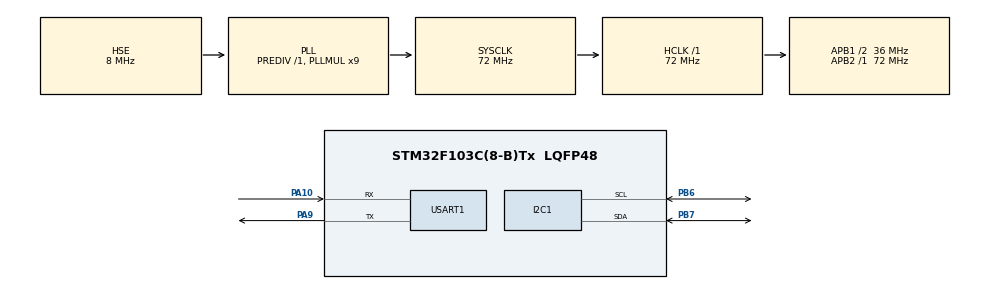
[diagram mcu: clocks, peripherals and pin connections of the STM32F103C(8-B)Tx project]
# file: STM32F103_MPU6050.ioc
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Dma.I2C1_RX.0.Direction=DMA_PERIPH_TO_MEMORY
Dma.I2C1_RX.0.Instance=DMA1_Channel7
Dma.I2C1_RX.0.MemDataAlignment=DMA_MDATAALIGN_BYTE
Dma.I2C1_RX.0.MemInc=DMA_MINC_ENABLE
Dma.I2C1_RX.0.Mode=DMA_NORMAL
Dma.I2C1_RX.0.PeriphDataAlignment=DMA_PDATAALIGN_BYTE
Dma.I2C1_RX.0.PeriphInc=DMA_PINC_DISABLE
Dma.I2C1_RX.0.Priority=DMA_PRIORITY_LOW
Dma.Request0=I2C1_RX
I2C1.I2C_Mode=I2C_Fast
Mcu.Family=STM32F1
Mcu.Name=STM32F103C(8-B)Tx
Mcu.Package=LQFP48
NVIC.DMA1_Channel7_IRQn=true\:0\:0\:false\:false\:true\:false\:true\:true
NVIC.I2C1_ER_IRQn=true\:0\:0\:false\:false\:true\:true\:true\:true
NVIC.I2C1_EV_IRQn=true\:0\:0\:false\:false\:true\:true\:true\:true
NVIC.PriorityGroup=NVIC_PRIORITYGROUP_4
PA10.Mode=Asynchronous
PA10.Signal=USART1_RX
PA13.Mode=Serial_Wire
PA13.Signal=SYS_JTMS-SWDIO
PA14.Mode=Serial_Wire
PA14.Signal=SYS_JTCK-SWCLK
PA9.Mode=Asynchronous
PA9.Signal=USART1_TX
PB6.Mode=I2C
PB6.Signal=I2C1_SCL
PB7.Mode=I2C
PB7.Signal=I2C1_SDA
PD0-OSC_IN.Mode=HSE-External-Oscillator
PD0-OSC_IN.Signal=RCC_OSC_IN
PD1-OSC_OUT.Mode=HSE-External-Oscillator
PD1-OSC_OUT.Signal=RCC_OSC_OUT
ProjectManager.HeapSize=0x200
ProjectManager.StackSize=0x400
ProjectManager.TargetToolchain=STM32CubeIDE
RCC.AHBFreq_Value=72000000
RCC.APB1CLKDivider=RCC_HCLK_DIV2
RCC.APB1Freq_Value=36000000
RCC.APB1TimFreq_Value=72000000
RCC.APB2Freq_Value=72000000
RCC.APB2TimFreq_Value=72000000
RCC.HCLKFreq_Value=72000000
RCC.PLLMUL=RCC_PLL_MUL9
RCC.PLLSourceVirtual=RCC_PLLSOURCE_HSE
RCC.SYSCLKFreq_VALUE=72000000
RCC.SYSCLKSource=RCC_SYSCLKSOURCE_PLLCLK
RCC.USBFreq_Value=72000000
TIM2.Prescaler=71
USART1.VirtualMode=VM_ASYNC
VP_TIM2_VS_ClockSourceINT.Mode=Internal
board=custom

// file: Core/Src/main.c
/* USER CODE BEGIN Header */
/**
  ******************************************************************************
  * @file           : main.c
  * @brief          : Main program body
  ******************************************************************************
  * @attention
  *
  * Copyright (c) 2026 STMicroelectronics.
  * All rights reserved.
  *
  * This software is licensed under terms that can be found in the LICENSE file
  * in the root directory of this software component.
  * If no LICENSE file comes with this software, it is provided AS-IS.
  *
  ******************************************************************************
  */
/* USER CODE END Header */
#include "main.h"

/* USER CODE BEGIN Includes */
#include "mpu6050.h"
#include <stdio.h> // Для printf
/* USER CODE END Includes */

I2C_HandleTypeDef hi2c1;
DMA_HandleTypeDef hdma_i2c1_rx;

TIM_HandleTypeDef htim2;

UART_HandleTypeDef huart1;

/* USER CODE BEGIN PV */
MPU6050_HandleTypeDef hmpu1; // Створюємо екземпляр драйвера
uint32_t mpu_timer = 0;      // Таймер для періодичного опитування датчика
/* USER CODE END PV */

void SystemClock_Config(void);
static void MX_GPIO_Init(void);
static void MX_DMA_Init(void);
static void MX_I2C1_Init(void);
static void MX_USART1_UART_Init(void);
static void MX_TIM2_Init(void);

/* USER CODE BEGIN 0 */
int __io_putchar(int ch) {
    // Відправляємо 1 байт через USART1 з таймаутом (тут блокуючий виклик для дебагу прийнятний)
    HAL_UART_Transmit(&huart1, (uint8_t *)&ch, 1, HAL_MAX_DELAY);
    return ch;
}
/* USER CODE END 0 */

int main(void)
{

  /* MCU Configuration--------------------------------------------------------*/

  /* Reset of all peripherals, Initializes the Flash interface and the Systick. */
  HAL_Init();

  /* Configure the system clock */
  SystemClock_Config();

  /* Initialize all configured peripherals */
  MX_GPIO_Init();
  MX_DMA_Init();
  MX_I2C1_Init();
  MX_USART1_UART_Init();
  MX_TIM2_Init();
  /* USER CODE BEGIN 2 */

  printf("\r\n=== STM32F103 Robot: MPU6050 Test Start ===\r\n");

  // Ініціалізуємо драйвер, передаючи I2C1 та TIM2
  MPU6050_Init_Async(&hmpu1, &hi2c1, &htim2);

  // Крутимо автомат станів, поки датчик не перейде в режим READY
  printf("Initializing MPU6050...\r\n");
  while (hmpu1.state != MPU_STATE_READY && hmpu1.state != MPU_STATE_ERROR) {
      MPU6050_Process_State(&hmpu1);
  }

  if (hmpu1.state == MPU_STATE_READY) {
      printf("MPU6050 Initialized Successfully!\r\n");
  } else {
      printf("MPU6050 Initialization ERROR!\r\n");
  }

  printf("MPU6050 Initialized. Calibrating Gyro... DO NOT MOVE!\r\n");
  MPU6050_Calibrate_Gyro_Z(&hmpu1, 500); // Беремо 500 точок для точного прорахунку нуля
  printf("Calibration Done! Offset Z: %ld\r\n", hmpu1.gyro_z_offset);

  mpu_timer = HAL_GetTick();

  /* USER CODE END 2 */

  /* Infinite loop */
  /* USER CODE BEGIN WHILE */
  while (1)
  {

	// Обов'язково викликаємо Process_State на кожній ітерації суперциклу
	MPU6050_Process_State(&hmpu1);

	// Неблокуючий запуск читання кожні 20 мс (Частота 50 Гц)
	if (HAL_GetTick() - mpu_timer >= 20) {
	    mpu_timer = HAL_GetTick();

	    if (hmpu1.state == MPU_STATE_READY) {
	        hmpu1.state = MPU_STATE_READING_DATA; // Переводимо в стан читання
	    }
	}

    static MPU_State_t prev_state = MPU_STATE_UNINIT;
    if (hmpu1.state == MPU_STATE_READY && prev_state == MPU_STATE_READING_DATA) {
        // Розраховуємо кут на основі точного часу з TIM2
        MPU6050_Update_Angle(&hmpu1);

        // Виводимо швидкість повороту та поточний кут машинки в градусах
        printf("SPEED_Z: %.2f deg/s | ANGLE_Z: %.2f deg\r\n",
               hmpu1.gyro_z_dps,
               hmpu1.angle_z);
    }
    prev_state = hmpu1.state;

	/* USER CODE END WHILE */

  }
}

void SystemClock_Config(void)
{
  RCC_OscInitTypeDef RCC_OscInitStruct = {0};
  RCC_ClkInitTypeDef RCC_ClkInitStruct = {0};

  /** Initializes the RCC Oscillators according to the specified parameters
  * in the RCC_OscInitTypeDef structure.
  */
  RCC_OscInitStruct.OscillatorType = RCC_OSCILLATORTYPE_HSE;
  RCC_OscInitStruct.HSEState = RCC_HSE_ON;
  RCC_OscInitStruct.HSEPredivValue = RCC_HSE_PREDIV_DIV1;
  RCC_OscInitStruct.HSIState = RCC_HSI_ON;
  RCC_OscInitStruct.PLL.PLLState = RCC_PLL_ON;
  RCC_OscInitStruct.PLL.PLLSource = RCC_PLLSOURCE_HSE;
  RCC_OscInitStruct.PLL.PLLMUL = RCC_PLL_MUL9;
  if (HAL_RCC_OscConfig(&RCC_OscInitStruct) != HAL_OK)
  {
    Error_Handler();
  }

  /** Initializes the CPU, AHB and APB buses clocks
  */
  RCC_ClkInitStruct.ClockType = RCC_CLOCKTYPE_HCLK|RCC_CLOCKTYPE_SYSCLK
                              |RCC_CLOCKTYPE_PCLK1|RCC_CLOCKTYPE_PCLK2;
  RCC_ClkInitStruct.SYSCLKSource = RCC_SYSCLKSOURCE_PLLCLK;
  RCC_ClkInitStruct.AHBCLKDivider = RCC_SYSCLK_DIV1;
  RCC_ClkInitStruct.APB1CLKDivider = RCC_HCLK_DIV2;
  RCC_ClkInitStruct.APB2CLKDivider = RCC_HCLK_DIV1;

  if (HAL_RCC_ClockConfig(&RCC_ClkInitStruct, FLASH_LATENCY_2) != HAL_OK)
  {
    Error_Handler();
  }
}

static void MX_I2C1_Init(void)
{

  hi2c1.Instance = I2C1;
  hi2c1.Init.ClockSpeed = 400000;
  hi2c1.Init.DutyCycle = I2C_DUTYCYCLE_2;
  hi2c1.Init.OwnAddress1 = 0;
  hi2c1.Init.AddressingMode = I2C_ADDRESSINGMODE_7BIT;
  hi2c1.Init.DualAddressMode = I2C_DUALADDRESS_DISABLE;
  hi2c1.Init.OwnAddress2 = 0;
  hi2c1.Init.GeneralCallMode = I2C_GENERALCALL_DISABLE;
  hi2c1.Init.NoStretchMode = I2C_NOSTRETCH_DISABLE;
  if (HAL_I2C_Init(&hi2c1) != HAL_OK)
  {
    Error_Handler();
  }

}

static void MX_TIM2_Init(void)
{

  TIM_ClockConfigTypeDef sClockSourceConfig = {0};
  TIM_MasterConfigTypeDef sMasterConfig = {0};

  htim2.Instance = TIM2;
  htim2.Init.Prescaler = 71;
  htim2.Init.CounterMode = TIM_COUNTERMODE_UP;
  htim2.Init.Period = 65535;
  htim2.Init.ClockDivision = TIM_CLOCKDIVISION_DIV1;
  htim2.Init.AutoReloadPreload = TIM_AUTORELOAD_PRELOAD_DISABLE;
  if (HAL_TIM_Base_Init(&htim2) != HAL_OK)
  {
    Error_Handler();
  }
  sClockSourceConfig.ClockSource = TIM_CLOCKSOURCE_INTERNAL;
  if (HAL_TIM_ConfigClockSource(&htim2, &sClockSourceConfig) != HAL_OK)
  {
    Error_Handler();
  }
  sMasterConfig.MasterOutputTrigger = TIM_TRGO_RESET;
  sMasterConfig.MasterSlaveMode = TIM_MASTERSLAVEMODE_DISABLE;
  if (HAL_TIMEx_MasterConfigSynchronization(&htim2, &sMasterConfig) != HAL_OK)
  {
    Error_Handler();
  }

}

static void MX_USART1_UART_Init(void)
{

  huart1.Instance = USART1;
  huart1.Init.BaudRate = 115200;
  huart1.Init.WordLength = UART_WORDLENGTH_8B;
  huart1.Init.StopBits = UART_STOPBITS_1;
  huart1.Init.Parity = UART_PARITY_NONE;
  huart1.Init.Mode = UART_MODE_TX_RX;
  huart1.Init.HwFlowCtl = UART_HWCONTROL_NONE;
  huart1.Init.OverSampling = UART_OVERSAMPLING_16;
  if (HAL_UART_Init(&huart1) != HAL_OK)
  {
    Error_Handler();
  }

}

static void MX_DMA_Init(void)
{

  /* DMA controller clock enable */
  __HAL_RCC_DMA1_CLK_ENABLE();

  /* DMA interrupt init */
  /* DMA1_Channel7_IRQn interrupt configuration */
  HAL_NVIC_SetPriority(DMA1_Channel7_IRQn, 0, 0);
  HAL_NVIC_EnableIRQ(DMA1_Channel7_IRQn);

}

static void MX_GPIO_Init(void)
{

  /* GPIO Ports Clock Enable */
  __HAL_RCC_GPIOD_CLK_ENABLE();
  __HAL_RCC_GPIOA_CLK_ENABLE();
  __HAL_RCC_GPIOB_CLK_ENABLE();

}

/* USER CODE BEGIN 4 */

// Викликається після успішного завершення HAL_I2C_Mem_Write_IT
void HAL_I2C_MemTxCpltCallback(I2C_HandleTypeDef *hi2c) {
    if (hi2c == hmpu1.hi2c) {
        MPU6050_I2C_MemTxCpltCallback(&hmpu1);
    }
}

// Викликається після успішного завершення HAL_I2C_Mem_Read_DMA
void HAL_I2C_MemRxCpltCallback(I2C_HandleTypeDef *hi2c) {
    if (hi2c == hmpu1.hi2c) {
        MPU6050_I2C_MemRxCpltCallback(&hmpu1);
    }
}

// Обробка помилок на шині I2C
void HAL_I2C_ErrorCallback(I2C_HandleTypeDef *hi2c) {
    if (hi2c == hmpu1.hi2c) {
        hmpu1.state = MPU_STATE_ERROR;
        hmpu1.i2c_busy = 0;
    }
}

/* USER CODE END 4 */

void Error_Handler(void)
{
  __disable_irq();
  while (1)
  {
  }
}
